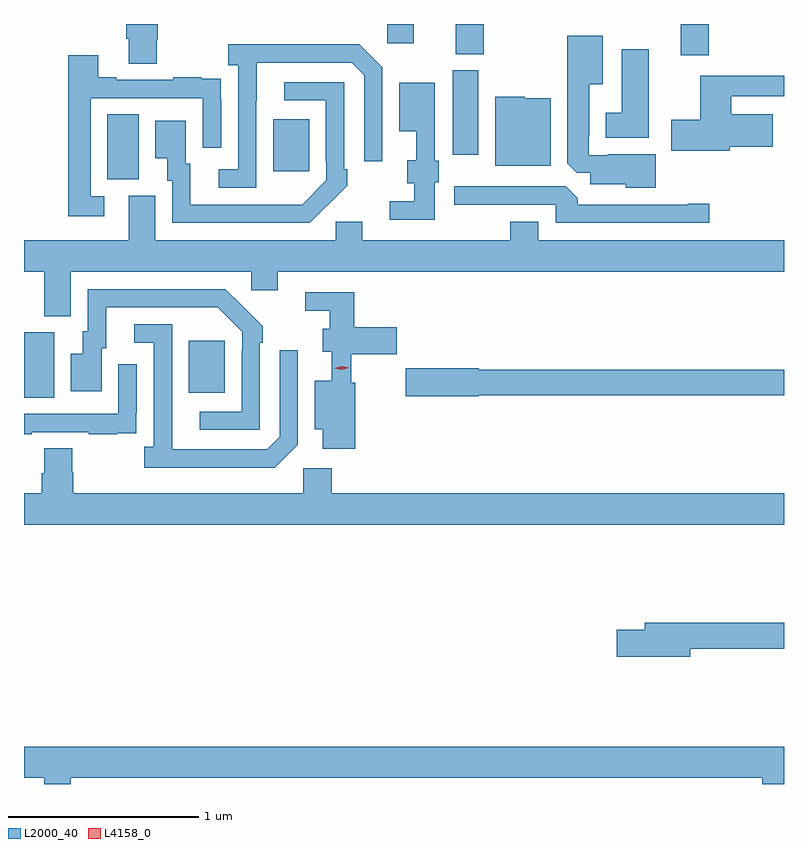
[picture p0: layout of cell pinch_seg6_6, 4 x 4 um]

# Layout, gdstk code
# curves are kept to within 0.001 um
import gdstk
lib = gdstk.Library(unit=1e-6, precision=1e-09)
def R(c, l, rs):  # rectangles x0, y0, x1, y1
    for r in rs: c.add(gdstk.rectangle(r[:2], r[2:], *l))
def P(c, l, *ps):  # polygons
    for p in ps: c.add(gdstk.Polygon(p, *l))
L2000_40 = (2000, 40)
L4158_0 = (4158, 0)

pinch_seg6_6 = lib.new_cell('pinch_seg6_6')
R(pinch_seg6_6, L2000_40, [(1100.833,973.312,1100.992,973.656), (1101.701,973.337,1101.889,973.612), (1101.272,974.461,1101.436,974.804), (1102.145,974.505,1102.333,974.779), (1103.09,974.592,1103.224,975.036), (1104.29,975.114,1104.438,975.279), (1103.105,975.121,1103.253,975.279), (1102.746,975.177,1102.885,975.279)])
P(pinch_seg6_6, L2000_40, [(1101.531,975.195),(1101.536,975.195),(1101.536,975.279),(1101.371,975.279),(1101.371,975.202),(1101.383,975.202),(1101.383,975.07),(1101.531,975.07)],
  [(1104.157,974.593),(1103.905,974.593),(1103.905,974.589),(1103.805,974.589),(1103.805,974.689),(1103.809,974.689),(1103.809,974.963),(1103.878,974.963),(1103.878,975.217),(1103.693,975.217),(1103.693,974.545),(1103.742,974.496),(1103.813,974.496),(1103.813,974.435),(1104,974.435),(1104,974.417),(1104.157,974.417)],
  [(1102.056,974.875),(1102.057,975.075),(1102.557,975.075),(1102.623,975.009),(1102.623,974.556),(1102.719,974.556),(1102.719,975.051),(1102.598,975.172),(1101.909,975.172),(1101.909,975.062),(1101.96,975.062),(1101.96,974.514),(1101.858,974.514),(1101.858,974.418),(1102.056,974.418)],
  [(1104.121,975.145),(1103.978,975.145),(1103.978,974.812),(1103.894,974.812),(1103.894,974.681),(1104.121,974.681)],
  [(1101.256,974.373),(1101.183,974.373),(1101.183,974.889),(1101.774,974.889),(1101.774,974.628),(1101.87,974.628),(1101.87,974.882),(1101.869,974.882),(1101.869,974.991),(1101.767,974.991),(1101.767,974.998),(1101.619,974.998),(1101.619,974.985),(1101.319,974.985),(1101.319,974.998),(1101.223,974.998),(1101.223,975.115),(1101.067,975.115),(1101.067,974.268),(1101.256,974.268)],
  [(1104.547,974.633),(1104.775,974.633),(1104.775,974.803),(1104.555,974.803),(1104.555,974.898),(1104.833,974.898),(1104.833,975.007),(1104.392,975.007),(1104.392,974.775),(1104.24,974.775),(1104.24,974.612),(1104.547,974.612)],
  [(1102.427,974.323),(1102.428,974.322),(1102.533,974.427),(1102.533,974.515),(1102.518,974.515),(1102.518,974.973),(1102.203,974.973),(1102.203,974.877),(1102.422,974.877),(1102.422,974.557),(1102.425,974.557),(1102.425,974.457),(1102.297,974.329),(1101.709,974.328),(1101.709,974.544),(1101.685,974.544),(1101.685,974.77),(1101.524,974.77),(1101.524,974.573),(1101.587,974.573),(1101.587,974.454),(1101.612,974.454),(1101.612,974.232),(1102.336,974.232)],
  [(1102.995,974.445),(1103.016,974.445),(1103.016,974.559),(1102.995,974.559),(1102.995,974.971),(1102.808,974.971),(1102.808,974.714),(1102.898,974.714),(1102.898,974.563),(1102.85,974.563),(1102.85,974.441),(1102.887,974.441),(1102.887,974.346),(1102.758,974.346),(1102.758,974.25),(1102.995,974.25)],
  [(1103.605,974.887),(1103.469,974.887),(1103.469,974.896),(1103.312,974.896),(1103.312,974.534),(1103.605,974.534)],
  [(1104.439,974.333),(1104.326,974.333),(1104.326,974.328),(1103.747,974.328),(1103.747,974.362),(1103.685,974.424),(1103.097,974.424),(1103.097,974.328),(1103.631,974.328),(1103.631,974.232),(1104.439,974.232)],
  [(1101.079,973.976),(1102.029,973.976),(1102.029,973.878),(1102.168,973.878),(1102.168,973.976),(1104.833,973.976),(1104.833,974.14),(1103.539,974.14),(1103.539,974.239),(1103.392,974.239),(1103.392,974.14),(1102.612,974.14),(1102.612,974.238),(1102.473,974.238),(1102.473,974.14),(1101.523,974.14),(1101.523,974.376),(1101.383,974.376),(1101.383,974.14),(1100.833,974.14),(1100.833,973.976),(1100.939,973.976),(1100.939,973.741),(1101.079,973.741)],
  [(1102.074,973.601),(1102.089,973.601),(1102.089,973.689),(1101.892,973.884),(1101.168,973.884),(1101.168,973.662),(1101.143,973.662),(1101.143,973.543),(1101.08,973.543),(1101.08,973.347),(1101.241,973.347),(1101.241,973.572),(1101.265,973.572),(1101.265,973.788),(1101.853,973.788),(1101.981,973.659),(1101.981,973.559),(1101.978,973.559),(1101.978,973.239),(1101.759,973.239),(1101.759,973.143),(1102.074,973.143)],
  [(1102.577,973.392),(1102.556,973.392),(1102.556,973.541),(1102.795,973.541),(1102.795,973.683),(1102.571,973.683),(1102.571,973.866),(1102.314,973.866),(1102.314,973.77),(1102.443,973.77),(1102.443,973.675),(1102.406,973.675),(1102.406,973.553),(1102.454,973.553),(1102.454,973.402),(1102.364,973.402),(1102.364,973.145),(1102.406,973.145),(1102.406,973.044),(1102.577,973.044)],
  [(1102.275,973.065),(1102.275,973.561),(1102.179,973.561),(1102.179,973.107),(1102.113,973.041),(1101.613,973.041),(1101.612,973.698),(1101.414,973.698),(1101.414,973.602),(1101.516,973.602),(1101.516,973.054),(1101.465,973.054),(1101.465,972.944),(1102.154,972.944)],
  [(1100.875,973.131),(1101.175,973.131),(1101.175,973.119),(1101.323,973.119),(1101.323,973.125),(1101.425,973.125),(1101.425,973.234),(1101.426,973.234),(1101.426,973.489),(1101.33,973.489),(1101.33,973.227),(1100.833,973.227),(1100.833,973.119),(1100.875,973.119)],
  [(1103.226,973.324),(1104.833,973.324),(1104.833,973.46),(1103.226,973.46),(1103.226,973.466),(1102.842,973.466),(1102.842,973.319),(1103.226,973.319)],
  [(1104.833,972.808),(1102.454,972.808),(1102.454,972.94),(1102.302,972.94),(1102.302,972.808),(1101.092,972.808),(1101.092,972.921),(1101.087,972.921),(1101.087,973.046),(1100.939,973.046),(1100.939,972.914),(1100.927,972.914),(1100.927,972.808),(1100.833,972.808),(1100.833,972.644),(1104.833,972.644)],
  [(1104.34,971.992),(1104.833,971.992),(1104.833,972.128),(1104.101,972.128),(1104.101,972.092),(1103.952,972.092),(1103.952,971.95),(1104.34,971.95)],
  [(1101.079,971.312),(1104.719,971.312),(1104.719,971.279),(1104.833,971.279),(1104.833,971.476),(1100.833,971.476),(1100.833,971.312),(1100.939,971.312),(1100.939,971.279),(1101.079,971.279)])
P(pinch_seg6_6, L4158_0, [(1102.505,973.458),(1102.469,973.467),(1102.468,973.467),(1102.469,973.467),(1102.504,973.478),(1102.541,973.47),(1102.541,973.47),(1102.541,973.469)])

lib.write_gds('pinch_seg6_6.gds')
